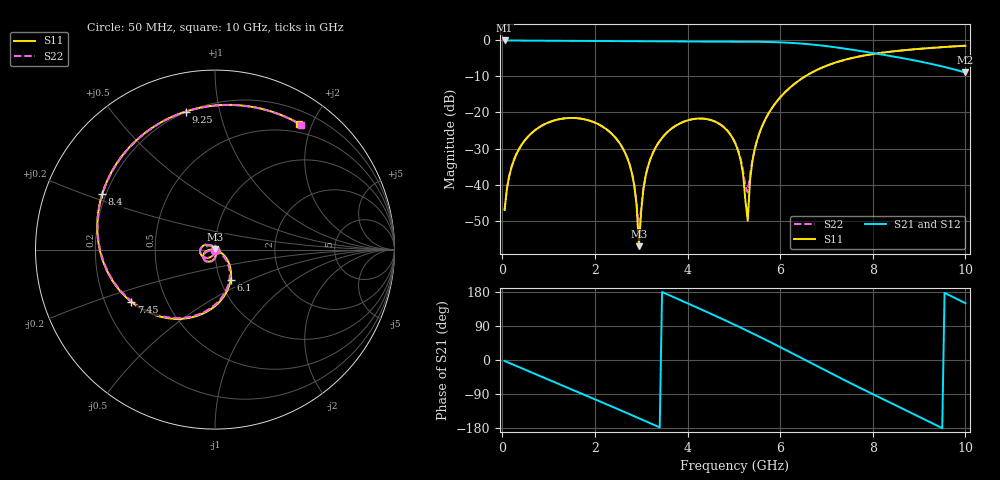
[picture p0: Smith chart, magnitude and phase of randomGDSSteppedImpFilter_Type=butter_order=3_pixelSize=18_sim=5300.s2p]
! freq	dB(S11)	phase(S11)	dB(S12)	phase(S12)
!  dB(S21)	phase(S21)	dB(S22)	phase(S22)
!S-par simulation data
#  GHz  S  DB  R 50
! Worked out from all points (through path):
!   200 points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, 50 MHz to 10 GHz, reference 50 ohm
!   highest |S21| = -0.01 dB at 50 MHz (marker M1); lowest = -8.9 dB at 10 GHz (marker M2)
!   group delay of S21, straight-line fit = 160 ps
!   lowest |S11| = -57.1 dB at 2.95 GHz (marker M3), VSWR 1.00, Z = 50.1 + j0.106 ohm
!   |S11| at or under -10 dB: start of sweep to 6.537 GHz
!   |S22| runs from -52.5 to -1.5 dB; largest |S21 - S12| = 0
!   S11 on the Smith chart (normalised r, x): 50 MHz: 1.00, -0.01; 6.1 GHz: 1.12, -0.39; 7.45 GHz: 0.31, -0.26; 8.4 GHz: 0.19, +0.22; 9.25 GHz: 0.20, +0.79; 10 GHz: 0.37, +1.81
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0.05  -47.07 -88.8  -0.01 -2.6  -0.01 -2.6  -47.07 -88.8
0.2  -35.13 -99.6  -0.02 -10.5  -0.02 -10.5  -35.13 -99.6
0.5  -27.51 -116.0  -0.04 -26.0  -0.04 -26.0  -27.52 -116.0
1.75  -21.82 178.2  -0.13 -90.6  -0.13 -90.6  -21.83 178.0
2.65  -31.15 129.9  -0.17 -137.8  -0.17 -137.8  -31.15 127.8
2.85  -40.22 116.4  -0.18 -148.4  -0.18 -148.4  -40.10 109.3
2.95  -57.10 49.0  -0.19 -153.7  -0.19 -153.7  -52.54 36.4
3.1  -37.35 -69.2  -0.20 -161.8  -0.20 -161.8  -37.23 -63.1
3.4  -27.90 -87.3  -0.23 -177.9  -0.23 -177.9  -27.87 -84.7
4.3  -21.69 -136.3  -0.32 133.2  -0.32 133.2  -21.66 -134.0
5.05  -29.15 -176.4  -0.35 91.1  -0.35 91.1  -28.98 -168.3
5.2  -37.21 179.3  -0.35 82.4  -0.35 82.4  -36.18 -160.5
5.3  -50.02 -46.8  -0.36 76.6  -0.36 76.6  -42.17 -84.8
5.35  -38.71 -25.1  -0.36 73.6  -0.36 73.6  -37.32 -50.1
5.5  -27.83 -27.9  -0.38 64.7  -0.38 64.7  -27.71 -36.6
6.1  -14.44 -62.8  -0.58 27.8  -0.58 27.8  -14.43 -65.2
6.7  -8.80 -100.7  -1.15 -10.1  -1.15 -10.1  -8.80 -102.2
7.45  -5.20 -148.0  -2.37 -56.9  -2.37 -56.9  -5.20 -149.1
8.35  -3.17 156.9  -4.25 -111.0  -4.25 -111.0  -3.17 156.0
8.4  -3.09 153.9  -4.36 -114.0  -4.36 -114.0  -3.09 153.0
9.25  -2.09 102.0  -6.48 -164.8  -6.48 -164.8  -2.08 101.2
10  -1.47 56.2  -8.89 150.0  -8.89 150.0  -1.47 55.5
